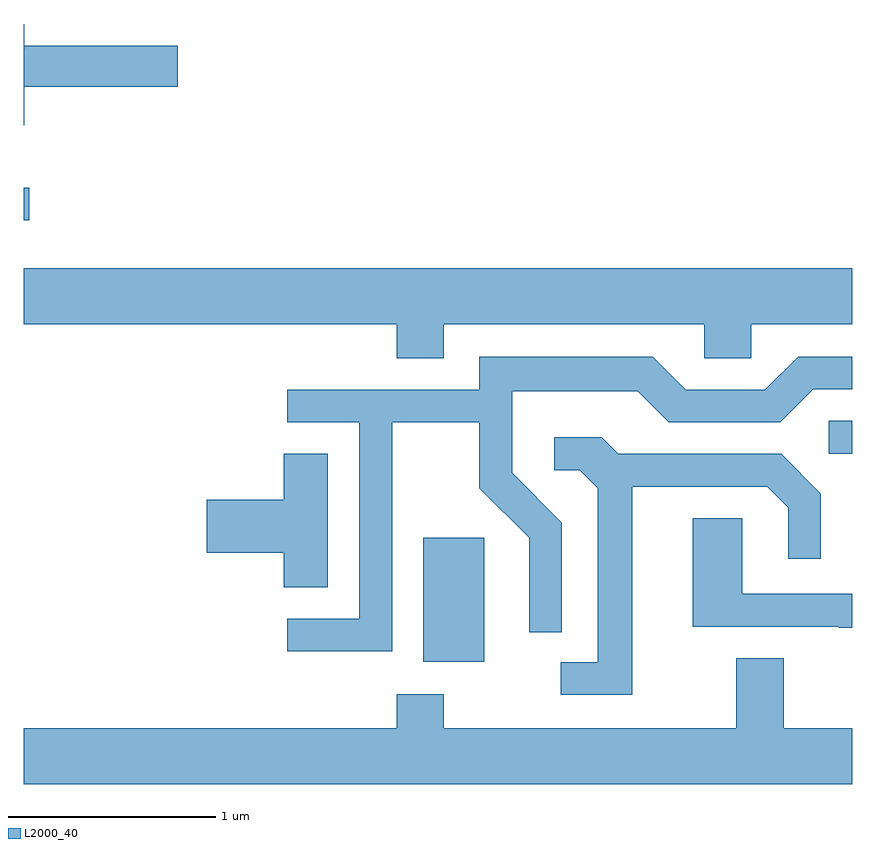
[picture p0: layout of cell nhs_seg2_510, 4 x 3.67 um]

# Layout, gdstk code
import gdstk
lib = gdstk.Library(unit=1e-6, precision=1e-09)
def R(c, l, rs):  # rectangles x0, y0, x1, y1
    for r in rs: c.add(gdstk.rectangle(r[:2], r[2:], *l))
def P(c, l, *ps):  # polygons
    for p in ps: c.add(gdstk.Polygon(p, *l))
L2000_40 = (2000, 40)

nhs_seg2_510 = lib.new_cell('nhs_seg2_510')
R(nhs_seg2_510, L2000_40, [(201.541,1046.686,201.834,1047.284), (203.498,1047.691,203.611,1047.849), (199.611,1048.816,199.638,1048.974)])
P(nhs_seg2_510, L2000_40, [(199.614,1049.461),(200.354,1049.461),(200.354,1049.659),(199.614,1049.659),(199.614,1049.764),(199.611,1049.764),(199.611,1049.276),(199.614,1049.276)],
  [(201.639,1048.316),(202.896,1048.316),(202.896,1048.151),(203.124,1048.151),(203.124,1048.316),(203.611,1048.316),(203.611,1048.584),(199.611,1048.584),(199.611,1048.316),(201.411,1048.316),(201.411,1048.151),(201.639,1048.151)],
  [(201.389,1047.841),(201.811,1047.841),(201.811,1047.524),(202.051,1047.284),(202.051,1046.828),(202.209,1046.828),(202.209,1047.357),(201.969,1047.597),(201.969,1047.991),(202.574,1047.991),(202.724,1047.841),(203.262,1047.841),(203.422,1048.001),(203.611,1048.001),(203.611,1048.159),(203.349,1048.159),(203.189,1047.999),(202.807,1047.999),(202.647,1048.159),(201.811,1048.159),(201.811,1047.999),(200.883,1047.999),(200.883,1047.841),(201.231,1047.841),(201.231,1046.894),(200.883,1046.894),(200.883,1046.736),(201.389,1046.736)],
  [(202.549,1047.531),(203.199,1047.531),(203.301,1047.429),(203.301,1047.183),(203.459,1047.183),(203.459,1047.497),(203.267,1047.689),(202.482,1047.689),(202.402,1047.769),(202.173,1047.769),(202.173,1047.611),(202.294,1047.611),(202.381,1047.524),(202.381,1046.684),(202.203,1046.684),(202.203,1046.526),(202.549,1046.526)],
  [(201.079,1047.689),(200.866,1047.689),(200.866,1047.469),(200.496,1047.469),(200.496,1047.211),(200.866,1047.211),(200.866,1047.046),(201.079,1047.046)],
  [(203.611,1047.014),(203.079,1047.014),(203.079,1047.379),(202.841,1047.379),(202.841,1046.856),(203.545,1046.856),(203.545,1046.851),(203.611,1046.851)],
  [(203.611,1046.364),(203.279,1046.364),(203.279,1046.704),(203.051,1046.704),(203.051,1046.364),(201.639,1046.364),(201.639,1046.529),(201.411,1046.529),(201.411,1046.364),(199.611,1046.364),(199.611,1046.096),(203.611,1046.096)])

lib.write_gds('nhs_seg2_510.gds')
